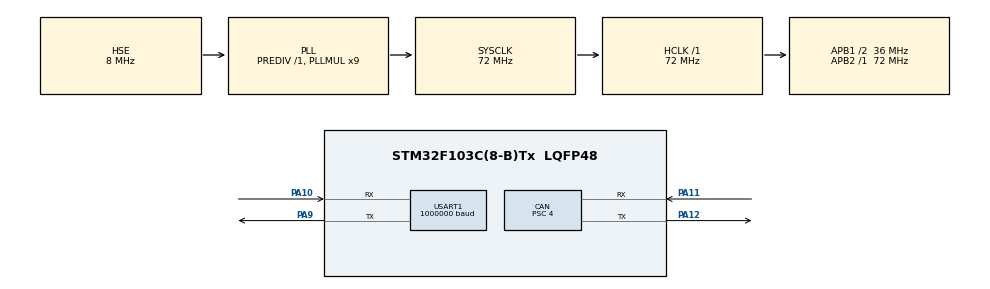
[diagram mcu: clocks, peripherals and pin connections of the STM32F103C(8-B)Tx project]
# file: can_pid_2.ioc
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CAN.BS1=CAN_BS1_3TQ
CAN.BS2=CAN_BS2_5TQ
CAN.CalculateBaudRate=1000000
CAN.CalculateTimeBit=1000
CAN.CalculateTimeQuantum=111.11111111111111
CAN.Prescaler=4
CAN.SJW=CAN_SJW_2TQ
Dma.Request0=USART1_RX
Dma.Request1=USART1_TX
Dma.USART1_RX.0.Direction=DMA_PERIPH_TO_MEMORY
Dma.USART1_RX.0.Instance=DMA1_Channel5
Dma.USART1_RX.0.MemDataAlignment=DMA_MDATAALIGN_BYTE
Dma.USART1_RX.0.MemInc=DMA_MINC_ENABLE
Dma.USART1_RX.0.Mode=DMA_NORMAL
Dma.USART1_RX.0.PeriphDataAlignment=DMA_PDATAALIGN_BYTE
Dma.USART1_RX.0.PeriphInc=DMA_PINC_DISABLE
Dma.USART1_RX.0.Priority=DMA_PRIORITY_LOW
Dma.USART1_TX.1.Direction=DMA_MEMORY_TO_PERIPH
Dma.USART1_TX.1.Instance=DMA1_Channel4
Dma.USART1_TX.1.MemDataAlignment=DMA_MDATAALIGN_BYTE
Dma.USART1_TX.1.MemInc=DMA_MINC_ENABLE
Dma.USART1_TX.1.Mode=DMA_NORMAL
Dma.USART1_TX.1.PeriphDataAlignment=DMA_PDATAALIGN_BYTE
Dma.USART1_TX.1.PeriphInc=DMA_PINC_DISABLE
Dma.USART1_TX.1.Priority=DMA_PRIORITY_LOW
Mcu.Family=STM32F1
Mcu.Name=STM32F103C(8-B)Tx
Mcu.Package=LQFP48
NVIC.DMA1_Channel4_IRQn=true\:0\:0\:false\:false\:true\:false\:true\:true
NVIC.DMA1_Channel5_IRQn=true\:0\:0\:false\:false\:true\:false\:true\:true
NVIC.PriorityGroup=NVIC_PRIORITYGROUP_4
NVIC.USART1_IRQn=true\:0\:0\:false\:false\:true\:true\:true\:true
NVIC.USB_HP_CAN1_TX_IRQn=true\:0\:0\:false\:false\:true\:true\:true\:true
NVIC.USB_LP_CAN1_RX0_IRQn=true\:0\:0\:false\:false\:true\:true\:true\:true
PA10.Mode=Asynchronous
PA10.Signal=USART1_RX
PA11.Mode=CAN_Activate
PA11.Signal=CAN_RX
PA12.Mode=CAN_Activate
PA12.Signal=CAN_TX
PA13.Mode=Serial_Wire
PA13.Signal=SYS_JTMS-SWDIO
PA14.Mode=Serial_Wire
PA14.Signal=SYS_JTCK-SWCLK
PA9.Mode=Asynchronous
PA9.Signal=USART1_TX
PD0-OSC_IN.Mode=HSE-External-Oscillator
PD0-OSC_IN.Signal=RCC_OSC_IN
PD1-OSC_OUT.Mode=HSE-External-Oscillator
PD1-OSC_OUT.Signal=RCC_OSC_OUT
ProjectManager.HeapSize=0x200
ProjectManager.StackSize=0x400
ProjectManager.TargetToolchain=MDK-ARM V5.32
RCC.AHBFreq_Value=72000000
RCC.APB1CLKDivider=RCC_HCLK_DIV2
RCC.APB1Freq_Value=36000000
RCC.APB1TimFreq_Value=72000000
RCC.APB2Freq_Value=72000000
RCC.APB2TimFreq_Value=72000000
RCC.HCLKFreq_Value=72000000
RCC.PLLMUL=RCC_PLL_MUL9
RCC.PLLSourceVirtual=RCC_PLLSOURCE_HSE
RCC.SYSCLKFreq_VALUE=72000000
RCC.SYSCLKSource=RCC_SYSCLKSOURCE_PLLCLK
RCC.USBFreq_Value=72000000
USART1.BaudRate=1000000
USART1.VirtualMode=VM_ASYNC
board=custom

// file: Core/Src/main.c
/* USER CODE BEGIN Header */
/**
  ******************************************************************************
  * @file           : main.c
  * @brief          : Main program body
  ******************************************************************************
  * @attention
  *
  * Copyright (c) 2025 STMicroelectronics.
  * All rights reserved.
  *
  * This software is licensed under terms that can be found in the LICENSE file
  * in the root directory of this software component.
  * If no LICENSE file comes with this software, it is provided AS-IS.
  *
  ******************************************************************************
  */
/* USER CODE END Header */
#include "main.h"
#include "can.h"
#include "dma.h"
#include "usart.h"
#include "gpio.h"

/* USER CODE BEGIN Includes */
#include "motor_control.h"
#include <stdio.h>
#include <string.h>
/* USER CODE END Includes */

/* USER CODE BEGIN PV */
MotorControl_t motor1;

uint32_t last_control_time = 0;

// 串口发送数据缓冲区
typedef struct {
  uint8_t motor_id;
  uint16_t rotor_angle;
  int16_t rotor_speed;
  int16_t torque_current;
  int8_t temperature;
  uint8_t data_ready;  // 数据就绪标志
} UART_SendData_t;

static UART_SendData_t uart_send_data = {0};

void Motor_Update_Status(uint8_t motor_id, uint16_t rotor_angle,
                           int16_t rotor_speed, int16_t torque_current,
                           int8_t temperature);

// 串口发送CAN反馈数据函数
void UART_SendMotorFeedback(uint8_t motor_id, uint16_t rotor_angle,
                            int16_t rotor_speed, int16_t torque_current,
                            int8_t temperature);
/* USER CODE END PV */

void SystemClock_Config(void);

int main(void)
{

  /* MCU Configuration--------------------------------------------------------*/

  /* Reset of all peripherals, Initializes the Flash interface and the Systick. */
  HAL_Init();

  /* Configure the system clock */
  SystemClock_Config();

  /* Initialize all configured peripherals */
  MX_GPIO_Init();
  MX_DMA_Init();
  MX_CAN_Init();
  MX_USART1_UART_Init();
  /* USER CODE BEGIN 2 */

  MotorControl_Init(&motor1, 1);
  CAN_InitFilter(1);

  // CAN_SetRxCallback(MotorFeedbackCallback);

  CAN_StartReceive();
  MotorControl_SetEnable(&motor1, 1);

  motor1.target_output_angle = motor1.total_output_angle;

  //MotorControl_SetTargetAngle(&motor1, 180.0f);
  MotorControl_RotateTwoRoundsForward(&motor1);  // 正转两圈
  //MotorControl_RotateTwoRoundsReverse(&motor1);  // 反转两圈

  last_control_time = HAL_GetTick();

  /* USER CODE END 2 */

  /* Infinite loop */
  while (1)
  {

    /* USER CODE BEGIN 3 */

    uint32_t current_time = HAL_GetTick();
    if (current_time - last_control_time >= 10)
    {

      int16_t current_command = MotorControl_Calculate(&motor1);

      CAN_SendMotorCommand(motor1.motor_id, current_command);

      last_control_time = current_time;
    }

    if (uart_send_data.data_ready)
    {
      uart_send_data.data_ready = 0;  // 清除标志
      UART_SendMotorFeedback(uart_send_data.motor_id,
                             uart_send_data.rotor_angle,
                             uart_send_data.rotor_speed,
                             uart_send_data.torque_current,
                             uart_send_data.temperature);
    }

    HAL_Delay(1);  // 避免CPU占用过高
  }
  /* USER CODE END 3 */
}

void SystemClock_Config(void)
{
  RCC_OscInitTypeDef RCC_OscInitStruct = {0};
  RCC_ClkInitTypeDef RCC_ClkInitStruct = {0};

  /** Initializes the RCC Oscillators according to the specified parameters
  * in the RCC_OscInitTypeDef structure.
  */
  RCC_OscInitStruct.OscillatorType = RCC_OSCILLATORTYPE_HSE;
  RCC_OscInitStruct.HSEState = RCC_HSE_ON;
  RCC_OscInitStruct.HSEPredivValue = RCC_HSE_PREDIV_DIV1;
  RCC_OscInitStruct.HSIState = RCC_HSI_ON;
  RCC_OscInitStruct.PLL.PLLState = RCC_PLL_ON;
  RCC_OscInitStruct.PLL.PLLSource = RCC_PLLSOURCE_HSE;
  RCC_OscInitStruct.PLL.PLLMUL = RCC_PLL_MUL9;
  if (HAL_RCC_OscConfig(&RCC_OscInitStruct) != HAL_OK)
  {
    Error_Handler();
  }

  /** Initializes the CPU, AHB and APB buses clocks
  */
  RCC_ClkInitStruct.ClockType = RCC_CLOCKTYPE_HCLK|RCC_CLOCKTYPE_SYSCLK
                              |RCC_CLOCKTYPE_PCLK1|RCC_CLOCKTYPE_PCLK2;
  RCC_ClkInitStruct.SYSCLKSource = RCC_SYSCLKSOURCE_PLLCLK;
  RCC_ClkInitStruct.AHBCLKDivider = RCC_SYSCLK_DIV1;
  RCC_ClkInitStruct.APB1CLKDivider = RCC_HCLK_DIV2;
  RCC_ClkInitStruct.APB2CLKDivider = RCC_HCLK_DIV1;

  if (HAL_RCC_ClockConfig(&RCC_ClkInitStruct, FLASH_LATENCY_2) != HAL_OK)
  {
    Error_Handler();
  }
}

/* USER CODE BEGIN 4 */

void Motor_Update_Status(uint8_t motor_id, uint16_t rotor_angle, int16_t rotor_speed, int16_t torque_current, int8_t temperature)
{
  if (motor_id == motor1.motor_id)
  {
    MotorControl_UpdateFeedback(&motor1, rotor_angle, rotor_speed, torque_current, temperature);
  }

  uart_send_data.motor_id = motor_id;
  uart_send_data.rotor_angle = rotor_angle;
  uart_send_data.rotor_speed = rotor_speed;
  uart_send_data.torque_current = torque_current;
  uart_send_data.temperature = temperature;
  uart_send_data.data_ready = 1;

}

void UART_SendMotorFeedback(uint8_t motor_id, uint16_t rotor_angle, int16_t rotor_speed, int16_t torque_current, int8_t temperature)
{
  char uart_buffer[200];
  int len;

  float total_output_angle = 0.0f;
  if (motor_id == motor1.motor_id)
  {
    total_output_angle = motor1.total_output_angle;
  }

  if (motor_id == motor1.motor_id)
  {
    len = snprintf(uart_buffer, sizeof(uart_buffer),
                 "%.2f,%.2f,%.2f\r\n",
                 total_output_angle,          // 通道1：总输出角度
                 motor1.target_output_angle,  // 通道2：目标角度
                 motor1.current_output_angle   // 通道3：当前角度
                 );
  }
  else
  {
    len = snprintf(uart_buffer, sizeof(uart_buffer), "0.00,0.00,0.00\r\n");
  }

  if (len > 0 && len < sizeof(uart_buffer))
  {
    HAL_UART_Transmit(&huart1, (uint8_t*)uart_buffer, len, 100);
  }
}

/* USER CODE END 4 */

void Error_Handler(void)
{
  __disable_irq();
  while (1)
  {
  }
}
